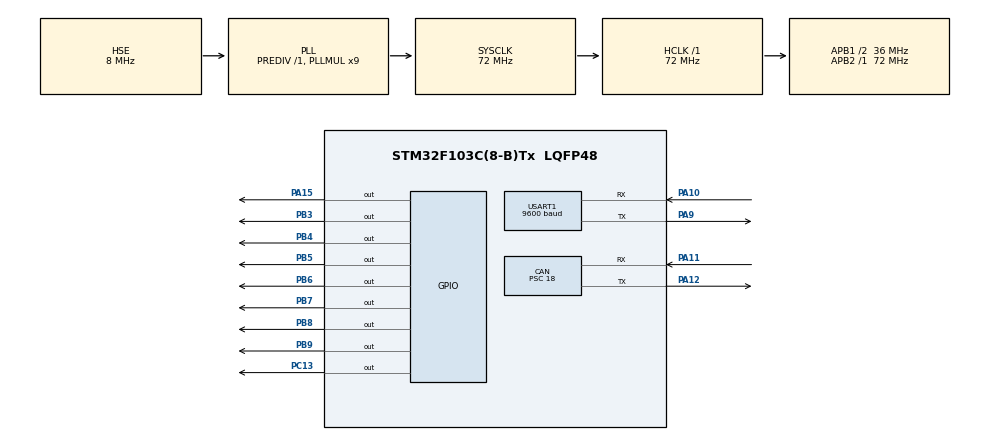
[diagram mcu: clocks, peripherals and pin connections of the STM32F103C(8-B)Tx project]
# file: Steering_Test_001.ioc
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CAN.BS1=CAN_BS1_5TQ
CAN.BS2=CAN_BS2_2TQ
CAN.CalculateBaudRate=250000
CAN.CalculateTimeBit=4000
CAN.CalculateTimeQuantum=500.0
CAN.Prescaler=18
Mcu.Family=STM32F1
Mcu.Name=STM32F103C(8-B)Tx
Mcu.Package=LQFP48
NVIC.CAN1_RX1_IRQn=true\:1\:0\:true\:false\:true\:true\:true\:true
NVIC.CAN1_SCE_IRQn=true\:1\:0\:true\:false\:true\:true\:true\:true
NVIC.PriorityGroup=NVIC_PRIORITYGROUP_4
NVIC.USART1_IRQn=true\:0\:0\:false\:true\:true\:1\:true\:true\:true
PA10.Mode=Asynchronous
PA10.Signal=USART1_RX
PA11.GPIO_Mode=GPIO_MODE_INPUT
PA11.GPIO_PuPd=GPIO_PULLUP
PA11.Mode=CAN_Activate
PA11.Signal=CAN_RX
PA12.Mode=CAN_Activate
PA12.Signal=CAN_TX
PA13.Mode=Serial_Wire
PA13.Signal=SYS_JTMS-SWDIO
PA14.Mode=Serial_Wire
PA14.Signal=SYS_JTCK-SWCLK
PA15.GPIO_Speed=GPIO_SPEED_FREQ_HIGH
PA15.Signal=GPIO_Output
PA9.Mode=Asynchronous
PA9.Signal=USART1_TX
PB3.PinState=GPIO_PIN_RESET
PB3.Signal=GPIO_Output
PB4.PinState=GPIO_PIN_RESET
PB4.Signal=GPIO_Output
PB5.GPIO_PuPd=GPIO_PULLUP
PB5.GPIO_Speed=GPIO_SPEED_FREQ_HIGH
PB5.PinState=GPIO_PIN_SET
PB5.Signal=GPIO_Output
PB6.GPIO_Speed=GPIO_SPEED_FREQ_HIGH
PB6.Signal=GPIO_Output
PB7.GPIO_Speed=GPIO_SPEED_FREQ_HIGH
PB7.PinState=GPIO_PIN_RESET
PB7.Signal=GPIO_Output
PB8.GPIO_Speed=GPIO_SPEED_FREQ_HIGH
PB8.PinState=GPIO_PIN_RESET
PB8.Signal=GPIO_Output
PB9.GPIO_PuPd=GPIO_PULLUP
PB9.GPIO_Speed=GPIO_SPEED_FREQ_HIGH
PB9.PinState=GPIO_PIN_SET
PB9.Signal=GPIO_Output
PC13-TAMPER-RTC.Signal=GPIO_Output
PD0-OSC_IN.Mode=HSE-External-Oscillator
PD0-OSC_IN.Signal=RCC_OSC_IN
PD1-OSC_OUT.Mode=HSE-External-Oscillator
PD1-OSC_OUT.Signal=RCC_OSC_OUT
ProjectManager.HeapSize=0x200
ProjectManager.StackSize=0x400
ProjectManager.TargetToolchain=STM32CubeIDE
RCC.AHBFreq_Value=72000000
RCC.APB1CLKDivider=RCC_HCLK_DIV2
RCC.APB1Freq_Value=36000000
RCC.APB1TimFreq_Value=72000000
RCC.APB2Freq_Value=72000000
RCC.APB2TimFreq_Value=72000000
RCC.HCLKFreq_Value=72000000
RCC.PLLMUL=RCC_PLL_MUL9
RCC.PLLSourceVirtual=RCC_PLLSOURCE_HSE
RCC.SYSCLKFreq_VALUE=72000000
RCC.SYSCLKSource=RCC_SYSCLKSOURCE_PLLCLK
RCC.USBFreq_Value=72000000
USART1.BaudRate=9600
USART1.VirtualMode=VM_ASYNC
board=custom

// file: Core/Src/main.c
/* USER CODE BEGIN Header */
/**
  ******************************************************************************
  * @file           : main.c
  * @brief          : Main program body
  * @Author			: Rohanta Shaw
  ******************************************************************************
  */
/* USER CODE END Header */
#include "main.h"

/* USER CODE BEGIN Includes */
#include <stdio.h>
#include <stdint.h>
#include <stdlib.h>
#include <math.h>
#include <string.h>
#include "stm32f1xx_hal.h"
#include "stm32f1xx_it.h"
#include <stdbool.h>

//#include "can.h"
//#include "Nextion.h"

// SELF DEFINED Header files
#include "ShifterLEDs.h"
#include "NXT_Functions.h"

/* USER CODE END Includes */

/* USER CODE BEGIN PD */
//#define MAX_RPM 9000
//#define LEDS 15

// pin definition for the first register
/*
#define GPIO_PIN_6 GPIO_PIN_6 //DS1
#define GPIOB GPIOB
#define GPIO_PIN_7 GPIO_PIN_7 //STCP1
#define GPIOB GPIOB
#define GPIO_PIN_8 GPIO_PIN_8 //SHCP1
#define GPIOB GPIOB
#define GPIO_PIN_9 GPIO_PIN_9 //MR1
#define GPIOB GPIOB*/

// pin definition for the second register
/*
#define GPIO_PIN_15 GPIO_PIN_15 //DS2
#define GPIOA GPIOA
#define GPIO_PIN_3 GPIO_PIN_3 //STCP2
#define GPIOB GPIOB
#define GPIO_PIN_4 GPIO_PIN_4 //SHCP2
#define GPIOB GPIOB
#define GPIO_PIN_5 GPIO_PIN_5 //MR2
#define GPIOB GPIOB*/

/* USER CODE END PD */

CAN_HandleTypeDef hcan;
HAL_StatusTypeDef stat;
UART_HandleTypeDef huart1;				// Declared in the "NXT_Functions.c" src file as "huart"

/* USER CODE BEGIN PV */
char* STM_ded = "STM ded!\r\n";
float value1, value2;
char gear, lol, unit;

int8_t units_val;
uint8_t canData[8];

uint16_t a_val = 0, b_val = 0, c_val = 0, d_val = 0;

/* USER CODE END PV */

void SystemClock_Config(void);
static void MX_GPIO_Init(void);
static void MX_CAN_Init(void);
static void MX_USART1_UART_Init(void);
static void MX_NVIC_Init(void);
/* USER CODE BEGIN PFP */

void Errrwhatthesigma(char *errMsg, int f);
void ErrLedBlink(int f);

/* USER CODE END PFP */

/* USER CODE BEGIN 0 */
CAN_RxHeaderTypeDef RxHeader;
CAN_TxHeaderTypeDef TxHeader;

char* HAL_StatusToString(HAL_StatusTypeDef status) {
    switch(status) {
        case HAL_OK:      return "OK";					// HAL_OK
        case HAL_ERROR:   return "ERROR";				// HAL_ERROR
        case HAL_BUSY:    return "BUSY";				// HAL_BUSY
        case HAL_TIMEOUT: return "TIMEOUT";				// HAL_TIMEOUT
        default:          return "IDK";					// UNKNOWN STATUS
    }
}

void Errrwhatthesigma(char errMsg[], int f){				// main user defined Error / ALERT handling function

	if(f==3){												// LOW PRIORITY
		NXT_SendCmd("errMsg", "bco", 65535, "", false);		// changes the colour of the gear txt box to white.
		NXT_SendCmd("errMsg", "pco", 0, "", false);			// changes the colour of the text inside the "Gear" txt box to black
		NXT_SendTXT("errMsg", errMsg);
		ErrLedBlink(f);
	}
	else if(f==2){											// MEDIUM PRIORITY
		NXT_SendCmd("errMsg", "bco", 65505, "", false);		// changes the colour of the gear txt box to yellow.
		NXT_SendCmd("errMsg", "pco", 0, "", false);			// changes the colour of the text inside the "Gear" txt box to black
		NXT_SendTXT("errMsg", errMsg);
		ErrLedBlink(f);
	}
	else if(f==1){											// HIGH PRIORITY
		NXT_SendCmd("errMsg", "bco", 51200, "", false);		// changes the colour of the gear txt box to red.
		NXT_SendCmd("errMsg", "pco", 65535, "", false);		// changes the colour of the text inside the "Gear" txt box to white
		NXT_SendTXT("errMsg", errMsg);
		ErrLedBlink(f);
	}
	else{
		NXT_SendTXT("rad_state", errMsg);
		ErrLedBlink(f);
	}
}

void ErrLedBlink(int f){
	int x = 0;
	while((x++) < 20){
		HAL_GPIO_WritePin(GPIOC, GPIO_PIN_13, 0);
		/*
		if(f == 1)				// HIGH PRIORITY / SYSTEM CRITICAL
			HAL_Delay(200);
		else if(f == 2)			// MEDIUM PRIORITY
			HAL_Delay(750);

		else if(f == 3)			// LOW PRIORITY
			HAL_Delay(1250);
		else
			HAL_Delay(3000);
		*/
		(f==1) ? HAL_Delay(200) : (f==2) ? HAL_Delay(750) : (f==3) ? HAL_Delay(1250) : HAL_Delay(2000);
		HAL_GPIO_WritePin(GPIOC, GPIO_PIN_13, 1);
		(f==1) ? HAL_Delay(200) : (f==2) ? HAL_Delay(750) : (f==3) ? HAL_Delay(1250) : HAL_Delay(2000);
	}
}

void deelay(uint8_t x){
	while(x-- == 0){
		for(uint8_t i = 0 ; i < 10000 ; i++);
	}
}

//	Predefined functions for sending different data to display

//LED DRIVING CODE GOES HERE

void HAL_CAN_RxFifo1MsgPendingCallback(CAN_HandleTypeDef *hcan)
{
	// could keep in infinite loop and keep checking if it getting filled, and after some time (1 min), if it doesn't, send to error handling.
	uint32_t FifoFill = HAL_CAN_GetRxFifoFillLevel(hcan, CAN_RX_FIFO1);
	while(! FifoFill){
		Errrwhatthesigma("!FIFO_FILL", 3);
		Error_Handler();
	}
	NXT_SendNum("map", FifoFill);					// Shares the fill level of FIFO1 to see how many messages are filling up the queue.

	NXT_SendTXT("rad_state", "FILL"); HAL_Delay(2000);

	stat = HAL_CAN_GetRxMessage(hcan, CAN_RX_FIFO1, &RxHeader, canData);
    if (stat != HAL_OK){							// Tells us if the CAN bus is ready, listening or not.
    	Errrwhatthesigma(HAL_StatusToString(stat), 3);
    	Error_Handler();
    }
    NXT_SendTXT("rad_state", "RxMsgRcvd");
    //NXT_SendNum("map", 2);						// will continue to show number of meesages in fifo until the code if figured out.
    HAL_Delay(2000);

    if(RxHeader.ExtId == 0x18F00400){							// ID: 0CFFF048
    	//value1 = (float)(*z_value)*0.125;
    	a_val = (canData[1] << 8) | canData[0];					// RPM (uint16_t)
    	NXT_SendNum("rpm", (int32_t)a_val);
    	    // 2. Next 2 bytes as signed 16-bit integer
    	b_val = (int16_t)((canData[3] << 8) | canData[2]);		// TPS (int16_t)
    	// if (b_val > 32767) b_val -= 65536;

    	NXT_SendNum("tpsbar", (int32_t)(b_val)); // can just output canData[2] as high byte (canData[3]) will always be 00
/*
    	    // 3. Next 2 bytes as signed 16-bit integer
    	c_val = (int16_t)((canData[4] << 8) | canData[5]);		// FUEL OPEN TIME (int16_t)
    	if (c_val > 32767) c_val -= 65536;
    	NXT_SendNum("rpm", (int32_t)a_val);
    	    // 4. Last 2 bytes as signed 16-bit integer
    	d_val = (int16_t)((canData[6] << 8) | canData[7]);		// INJECTOR ANGLE (int16_t)
    	if(d_val > 32767) d_val -= 65536;
    	*/
    	// CALL THE UPDATE LED FUNCTION HEREAT

    }

    else if(RxHeader.ExtId == 0x18FEEE00){						// ID: 0CFFF548

    	units_val = (int8_t)(canData[7]);						// TEMPERATURE TYPE / UNIT (0 / 1)
    	if(units_val == 01) unit = 'C';
    	else unit = 'F';

   		//value1 = (float)(*c_value)*1;
    	a_val = (int32_t)(canData[1] << 8) | canData[0];		// BATTERY VOLTAGE (uint)
    	NXT_SendFloat("bat_v", (float)(a_val*0.01), 2);

    	/* 	// can remove comments once we have acquire a sensor for the same
    	b_val = (int16_t)((canData[3] << 8) | canData[2]);		// AIR TEMP (signed int)
    	if (b_val > 32767) b_val -= 65536;
    	NXT_SendNum("tpsbar", (int32_t)b_val);*/

    	c_val = (int16_t)((canData[5] << 8) | canData[4]);		// COOLANT TEMP (signed int)
    	if (c_val > 32767) c_val -= 65536;
   		NXT_SendFloat("oil_temp", (float)(c_val*0.01), 2);

    	if(c_val > 8000){
    		NXT_SendCmd("rad_state", "bco", 65505, "", false); 		// Turns the radiator state box to yellow to signify change
    		NXT_SendTXT("rad_state", "ON");
    		deelay(2);
    	}

    }
    /*
    else if(RxHeader.ExtId == 0x18FEF717){						// ID: ???
    	// BATTERY VOTLAGE
    	HAL_GPIO_WritePin(GPIOC, GPIO_PIN_13, 1);
    	  HAL_Delay(1000);
    	value1 = (float)(*e_value)*1;
    	NXT_SendFloat("bat_v", value1, 2);
    	HAL_GPIO_WritePin(GPIOC, GPIO_PIN_13, 0);
    	HAL_Delay(1000);
    }

    else if(RxHeader.ExtId == 0x050){
    		gear = (char)(*a_value);
    		NXT_SendNum("gear", (int32_t)gear);
    		sprintf(msg,"Gear : %d \r\n",gear);
    		HAL_UART_Transmit(&huart1, (uint8_t *)msg, strlen(msg),1000);
    }
    else if(RxHeader.ExtId == 0x0CF00301){						// ID: ???
    		// tps
    	HAL_GPIO_WritePin(GPIOC, GPIO_PIN_13, 1);
    	HAL_Delay(1000);
    	value1 = (float)(*c_value)*1;
    	NXT_SendNum("tpsbar", (int32_t)value1);
    	sprintf(msg,"TPS : %0.2f per\r\n",value1);
    	HAL_UART_Transmit(&huart1, (uint8_t*)msg, strlen(msg), 1000);
    	HAL_GPIO_WritePin(GPIOC, GPIO_PIN_13, 0);
    	HAL_Delay(1000);
   	}*/

    else{
    	NXT_SendNum("map", RxHeader.ExtId);
    	//sprintf(msg,"ID : %lu \r\n",RxHeader.ExtId);
   		//HAL_UART_Transmit(&huart1, (uint8_t*)msg, strlen(msg), 1000);
    }

}

/* USER CODE END 0 */

int main(void)
{

  /* MCU Configuration--------------------------------------------------------*/

  /* Reset of all peripherals, Initializes the Flash interface and the Systick. */
  HAL_Init();

  /* Configure the system clock */
  SystemClock_Config();

  /* Initialize all configured peripherals */
  MX_GPIO_Init();
  MX_CAN_Init();
  MX_USART1_UART_Init();

  /* Initialize interrupts */
  MX_NVIC_Init();
  /* USER CODE BEGIN 2 */
  NXT_SendTXT("rad_state", ""); HAL_Delay(3000);
  stat = HAL_CAN_ActivateNotification(&hcan, CAN_IT_RX_FIFO1_MSG_PENDING);
  if(stat != HAL_OK){
	  Errrwhatthesigma(HAL_StatusToString(stat), 2);
	  Error_Handler();
  }

    HC95write();
    HC95write1();
  // INITIALIZING THE VALUES FOR STARTUP
  NXT_SendTXT("t4", "BPS");
  NXT_SendTXT("t5", "TPS");

  NXT_SendNum("rpm", 0);
  NXT_SendNum("speed", 0);
  NXT_SendNum("map", 0);

  NXT_SendNum("bbar", 0);
  NXT_SendNum("tpsbar", 0);

  NXT_SendTXT("gear", "");
  NXT_SendTXT("rad_state", "OFF");
  NXT_SendFloat("afr", 1.00, 2);
  NXT_SendFloat("bat_v", 1.00, 2);
  NXT_SendFloat("oil_temp", 1.00, 2);
  // fill in with the other values. This will signify that the code has started.
  stat = HAL_CAN_Start(&hcan);
  if(stat != HAL_OK){
  	  Errrwhatthesigma(HAL_StatusToString(stat), 2);
  	  Error_Handler();
  }

  /* USER CODE END 2 */

  /* Infinite loop */
  /* USER CODE BEGIN WHILE */
  //int b=0;
  while(1)
  {
    /* USER CODE END WHILE */

    /* USER CODE BEGIN 3 */

	  //NXT_SendNum("tpsbar", (b+10)%100);
  }
  /* USER CODE END 3 */
}

void SystemClock_Config(void)
{
  RCC_OscInitTypeDef RCC_OscInitStruct = {0};
  RCC_ClkInitTypeDef RCC_ClkInitStruct = {0};

  /** Initializes the RCC Oscillators according to the specified parameters
  * in the RCC_OscInitTypeDef structure.
  */
  RCC_OscInitStruct.OscillatorType = RCC_OSCILLATORTYPE_HSE;
  RCC_OscInitStruct.HSEState = RCC_HSE_ON;
  RCC_OscInitStruct.HSEPredivValue = RCC_HSE_PREDIV_DIV1;
  RCC_OscInitStruct.HSIState = RCC_HSI_ON;
  RCC_OscInitStruct.PLL.PLLState = RCC_PLL_ON;
  RCC_OscInitStruct.PLL.PLLSource = RCC_PLLSOURCE_HSE;
  RCC_OscInitStruct.PLL.PLLMUL = RCC_PLL_MUL9;
  if (HAL_RCC_OscConfig(&RCC_OscInitStruct) != HAL_OK)
  {
    Error_Handler();
  }

  /** Initializes the CPU, AHB and APB buses clocks
  */
  RCC_ClkInitStruct.ClockType = RCC_CLOCKTYPE_HCLK|RCC_CLOCKTYPE_SYSCLK
                              |RCC_CLOCKTYPE_PCLK1|RCC_CLOCKTYPE_PCLK2;
  RCC_ClkInitStruct.SYSCLKSource = RCC_SYSCLKSOURCE_PLLCLK;
  RCC_ClkInitStruct.AHBCLKDivider = RCC_SYSCLK_DIV1;
  RCC_ClkInitStruct.APB1CLKDivider = RCC_HCLK_DIV2;
  RCC_ClkInitStruct.APB2CLKDivider = RCC_HCLK_DIV1;

  if (HAL_RCC_ClockConfig(&RCC_ClkInitStruct, FLASH_LATENCY_2) != HAL_OK)
  {
    Error_Handler();
  }
}

/**
  * @brief NVIC Configuration.
  * @retval None
  */
static void MX_NVIC_Init(void)
{
  /* USART1_IRQn interrupt configuration */
  HAL_NVIC_SetPriority(USART1_IRQn, 0, 0);
  HAL_NVIC_EnableIRQ(USART1_IRQn);
}

static void MX_CAN_Init(void)
{

  hcan.Instance = CAN1;
  hcan.Init.Prescaler = 18;
  hcan.Init.Mode = CAN_MODE_NORMAL;
  hcan.Init.SyncJumpWidth = CAN_SJW_1TQ;
  hcan.Init.TimeSeg1 = CAN_BS1_5TQ;
  hcan.Init.TimeSeg2 = CAN_BS2_2TQ;
  hcan.Init.TimeTriggeredMode = DISABLE;
  hcan.Init.AutoBusOff = DISABLE;
  hcan.Init.AutoWakeUp = DISABLE;
  hcan.Init.AutoRetransmission = DISABLE;
  hcan.Init.ReceiveFifoLocked = DISABLE;
  hcan.Init.TransmitFifoPriority = DISABLE;
  if (HAL_CAN_Init(&hcan) != HAL_OK)
  {
    Error_Handler();
  }
  /* USER CODE BEGIN CAN_Init 2 */
  CAN_FilterTypeDef can_filter_init;

  	can_filter_init.FilterActivation = CAN_FILTER_ENABLE;
  	can_filter_init.FilterBank = 10;  // Filter 0 (contains 2 32 bit Reg scans preferred ID)
  	can_filter_init.FilterFIFOAssignment = CAN_FILTER_FIFO1;  // FIFO1
  	can_filter_init.FilterIdHigh = 0x0000;
  	can_filter_init.FilterIdLow = 0x0000;
  	can_filter_init.FilterMaskIdHigh = 0x0000;
  	can_filter_init.FilterMaskIdLow = 0x0000;
  	can_filter_init.FilterMode = CAN_FILTERMODE_IDMASK;
  	can_filter_init.FilterScale = CAN_FILTERSCALE_32BIT;
  	can_filter_init.SlaveStartFilterBank = 0;

  	if(HAL_CAN_ConfigFilter(&hcan, &can_filter_init) != HAL_OK)
  	{
  		Errrwhatthesigma(HAL_StatusToString(HAL_CAN_ConfigFilter(&hcan, &can_filter_init)), 2);
  		Error_Handler();
  	}
  /* USER CODE END CAN_Init 2 */

}

static void MX_USART1_UART_Init(void)
{

  huart1.Instance = USART1;
  huart1.Init.BaudRate = 9600;
  huart1.Init.WordLength = UART_WORDLENGTH_8B;
  huart1.Init.StopBits = UART_STOPBITS_1;
  huart1.Init.Parity = UART_PARITY_NONE;
  huart1.Init.Mode = UART_MODE_TX_RX;
  huart1.Init.HwFlowCtl = UART_HWCONTROL_NONE;
  huart1.Init.OverSampling = UART_OVERSAMPLING_16;
  if (HAL_UART_Init(&huart1) != HAL_OK)
  {
    Error_Handler();
  }

}

static void MX_GPIO_Init(void)
{
  GPIO_InitTypeDef GPIO_InitStruct = {0};

  /* GPIO Ports Clock Enable */
  __HAL_RCC_GPIOC_CLK_ENABLE();
  __HAL_RCC_GPIOD_CLK_ENABLE();
  __HAL_RCC_GPIOA_CLK_ENABLE();
  __HAL_RCC_GPIOB_CLK_ENABLE();

  /*Configure GPIO pin Output Level */
  HAL_GPIO_WritePin(GPIOC, GPIO_PIN_13, GPIO_PIN_RESET);

  /*Configure GPIO pin Output Level */
  HAL_GPIO_WritePin(GPIOA, GPIO_PIN_15, GPIO_PIN_RESET);

  /*Configure GPIO pin Output Level */
  HAL_GPIO_WritePin(GPIOB, GPIO_PIN_3|GPIO_PIN_4|GPIO_PIN_6|GPIO_PIN_7
                          |GPIO_PIN_8, GPIO_PIN_RESET);

  /*Configure GPIO pin Output Level */
  HAL_GPIO_WritePin(GPIOB, GPIO_PIN_5|GPIO_PIN_9, GPIO_PIN_SET);

  /*Configure GPIO pin : PC13 */
  GPIO_InitStruct.Pin = GPIO_PIN_13;
  GPIO_InitStruct.Mode = GPIO_MODE_OUTPUT_PP;
  GPIO_InitStruct.Pull = GPIO_NOPULL;
  GPIO_InitStruct.Speed = GPIO_SPEED_FREQ_LOW;
  HAL_GPIO_Init(GPIOC, &GPIO_InitStruct);

  /*Configure GPIO pin : PA15 */
  GPIO_InitStruct.Pin = GPIO_PIN_15;
  GPIO_InitStruct.Mode = GPIO_MODE_OUTPUT_PP;
  GPIO_InitStruct.Pull = GPIO_NOPULL;
  GPIO_InitStruct.Speed = GPIO_SPEED_FREQ_HIGH;
  HAL_GPIO_Init(GPIOA, &GPIO_InitStruct);

  /*Configure GPIO pins : PB3 PB4 */
  GPIO_InitStruct.Pin = GPIO_PIN_3|GPIO_PIN_4;
  GPIO_InitStruct.Mode = GPIO_MODE_OUTPUT_PP;
  GPIO_InitStruct.Pull = GPIO_NOPULL;
  GPIO_InitStruct.Speed = GPIO_SPEED_FREQ_LOW;
  HAL_GPIO_Init(GPIOB, &GPIO_InitStruct);

  /*Configure GPIO pins : PB5 PB9 */
  GPIO_InitStruct.Pin = GPIO_PIN_5|GPIO_PIN_9;
  GPIO_InitStruct.Mode = GPIO_MODE_OUTPUT_PP;
  GPIO_InitStruct.Pull = GPIO_PULLUP;
  GPIO_InitStruct.Speed = GPIO_SPEED_FREQ_HIGH;
  HAL_GPIO_Init(GPIOB, &GPIO_InitStruct);

  /*Configure GPIO pins : PB6 PB7 PB8 */
  GPIO_InitStruct.Pin = GPIO_PIN_6|GPIO_PIN_7|GPIO_PIN_8;
  GPIO_InitStruct.Mode = GPIO_MODE_OUTPUT_PP;
  GPIO_InitStruct.Pull = GPIO_NOPULL;
  GPIO_InitStruct.Speed = GPIO_SPEED_FREQ_HIGH;
  HAL_GPIO_Init(GPIOB, &GPIO_InitStruct);

}

void Error_Handler(void)
{
  __disable_irq();
  while (1)
  {
  }
}
